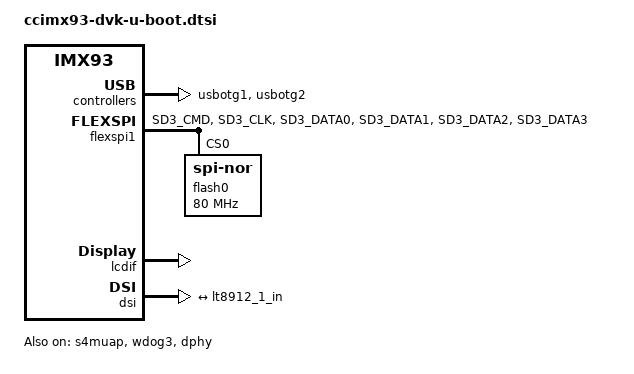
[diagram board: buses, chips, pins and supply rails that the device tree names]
// SPDX-License-Identifier: GPL-2.0+
/*
 * Copyright 2022-2025 Digi International Inc
 */

#include "imx93-u-boot.dtsi"

/ {
	bootcount {
		compatible = "u-boot,bootcount-rtc";
		rtc = <&rv3028>;
		offset = <0x1f>;
	};

	wdt-reboot {
		compatible = "wdt-reboot";
		wdt = <&wdog3>;
		bootph-pre-ram;
		bootph-some-ram;
	};

	aliases {
		usb_gadget0 = &usbg1;
		usb_gadget1 = &usbg2;
#if defined(CONFIG_DWC_ETH_QOS)
		ethernet0 = &eqos;
		ethernet1 = &fec;
#endif
	};

	usbg1: usbg1 {
		compatible = "fsl,imx27-usb-gadget";
		dr_mode = "peripheral";
		chipidea,usb = <&usbotg1>;
		status = "okay";
	};

	usbg2: usbg2 {
		compatible = "fsl,imx27-usb-gadget";
		dr_mode = "peripheral";
		chipidea,usb = <&usbotg2>;
		status = "okay";
	};

	firmware {
		optee {
			compatible = "linaro,optee-tz";
			method = "smc";
		};
	};

	dsi_host: dsi-host {
		compatible = "synopsys,dw-mipi-dsi";
		status = "okay";
	};
};

&A55_0 {
	clocks = <&clk IMX93_CLK_A55_SEL>;
};

&A55_1 {
	clocks = <&clk IMX93_CLK_A55_SEL>;
};

&{/soc@0} {
	bootph-all;
	bootph-pre-ram;
};

&aips1 {
	bootph-pre-ram;
	bootph-all;
};

&aips2 {
	bootph-pre-ram;
	bootph-some-ram;
};

&aips3 {
	bootph-pre-ram;
	bootph-some-ram;
};

&iomuxc {
	bootph-pre-ram;
	bootph-some-ram;

	pinctrl_flexspi: flexspigrp {
		fsl,pins = <
			MX93_PAD_SD3_CMD__FLEXSPI1_A_SS0_B	0x3fe
			MX93_PAD_SD3_CLK__FLEXSPI1_A_SCLK	0x3fe
			MX93_PAD_SD3_DATA0__FLEXSPI1_A_DATA00	0x3fe
			MX93_PAD_SD3_DATA1__FLEXSPI1_A_DATA01	0x3fe
			MX93_PAD_SD3_DATA2__FLEXSPI1_A_DATA02	0x3fe
			MX93_PAD_SD3_DATA3__FLEXSPI1_A_DATA03	0x3fe
		>;
	};
};

&pinctrl_uart6 {
	bootph-pre-ram;
	bootph-some-ram;
};

&pinctrl_usdhc1 {
	bootph-pre-ram;
};

&pinctrl_usdhc2_gpio {
	bootph-pre-ram;
};

&pinctrl_usdhc2 {
	bootph-pre-ram;
};

&gpio1 {
	compatible = "fsl,imx93-gpio", "fsl,imx7ulp-gpio";
	reg = <0x47400080 0x1000>, <0x47400040 0x40>;
	bootph-pre-ram;
	bootph-some-ram;
};

&gpio2 {
	compatible = "fsl,imx93-gpio", "fsl,imx7ulp-gpio";
	reg = <0x43810080 0x1000>, <0x43810040 0x40>;
	bootph-pre-ram;
	bootph-some-ram;
};

&gpio3 {
	compatible = "fsl,imx93-gpio", "fsl,imx7ulp-gpio";
	reg = <0x43820080 0x1000>, <0x43820040 0x40>;
	bootph-pre-ram;
	bootph-some-ram;
};

&gpio4 {
	compatible = "fsl,imx93-gpio", "fsl,imx7ulp-gpio";
	reg = <0x43830080 0x1000>, <0x43830040 0x40>;
	bootph-pre-ram;
	bootph-some-ram;
};

&lpuart6 {
	bootph-pre-ram;
	bootph-some-ram;
};

&usdhc1 {
	bootph-pre-ram;
};

&usdhc2 {
	bootph-pre-ram;
	fsl,signal-voltage-switch-extra-delay-ms = <8>;
};

&lpi2c1 {
	bootph-pre-ram;
};

&lpi2c2 {
	bootph-pre-ram;
};

&lpi2c3 {
	bootph-pre-ram;
};

&{/soc@0/bus@44000000/i2c@44340000/pmic@25} {
	bootph-pre-ram;
};

&{/soc@0/bus@44000000/i2c@44340000/pmic@25/regulators} {
	bootph-pre-ram;
};

&pinctrl_lpi2c1 {
	bootph-pre-ram;
};

&pinctrl_lpi2c3 {
	bootph-pre-ram;
};

&pinctrl_lpi2c4 {
	bootph-pre-ram;
};

&usbotg1 {
	pinctrl-names = "default";
	pinctrl-0 = <>;
	status = "okay";
	extcon = <&ptn5110>;
};

&usbotg2 {
	status = "okay";
};

&s4muap {
	bootph-pre-ram;
	bootph-some-ram;
	status = "okay";
};

&clk {
	bootph-all;
	bootph-pre-ram;
	/delete-property/ assigned-clocks;
	/delete-property/ assigned-clock-rates;
	/delete-property/ assigned-clock-parents;
};

&osc_32k {
	bootph-all;
	bootph-pre-ram;
};

&osc_24m {
	bootph-all;
	bootph-pre-ram;
};

&clk_ext1 {
	bootph-all;
	bootph-pre-ram;
};

&flexspi1 {
	pinctrl-names = "default";
	pinctrl-0 = <&pinctrl_flexspi>;
	assigned-clock-rates = <80000000>;
	status = "okay";

	flash0: flash@0 {
		reg = <0>;
		#address-cells = <1>;
		#size-cells = <1>;
		compatible = "jedec,spi-nor";
		spi-max-frequency = <80000000>;
		spi-tx-bus-width = <4>;
		spi-rx-bus-width = <4>;
	};
};

&wdog3 {
	status = "okay";
};

&lcdif {
	status = "okay";
	/* HDMI clock rates */
	assigned-clock-rates = <484000000>, <121000000>, <400000000>, <133333333>;
	/* LVDS clock rates */
	/*assigned-clock-rates = <498000000>, <71142857>, <400000000>, <133333333>;*/
};

/*
 * To have LVDS display:
 * - Disable nodes `dphy`, `dsi`, `lt_bridge`
 * - Enable nodes `backlight`, lvds_panel`, `ldb_phy`, `ldb`, `lvds-channel@0`
 * - Replace `lcdif` node assigned-clock-rates with the LVDS values
 */
&ldb_phy {
	status = "disabled";
};

&ldb {
	status = "disabled";

	lvds-channel@0 {
		fsl,data-mapping = "jeida";
		fsl,data-width = <24>;
		status = "disabled";

		port@1 {
			reg = <1>;

			lvds_out: endpoint {
				remote-endpoint = <&panel_lvds_in>;
			};
		};
	};
};

&dphy {
	status = "okay";
};

&dsi {
	status = "okay";

	ports {
		port@1 {
			mipi_dsi_hdmi_out: endpoint {
				remote-endpoint = <&lt8912_1_in>;
			};
		};
	};
};
